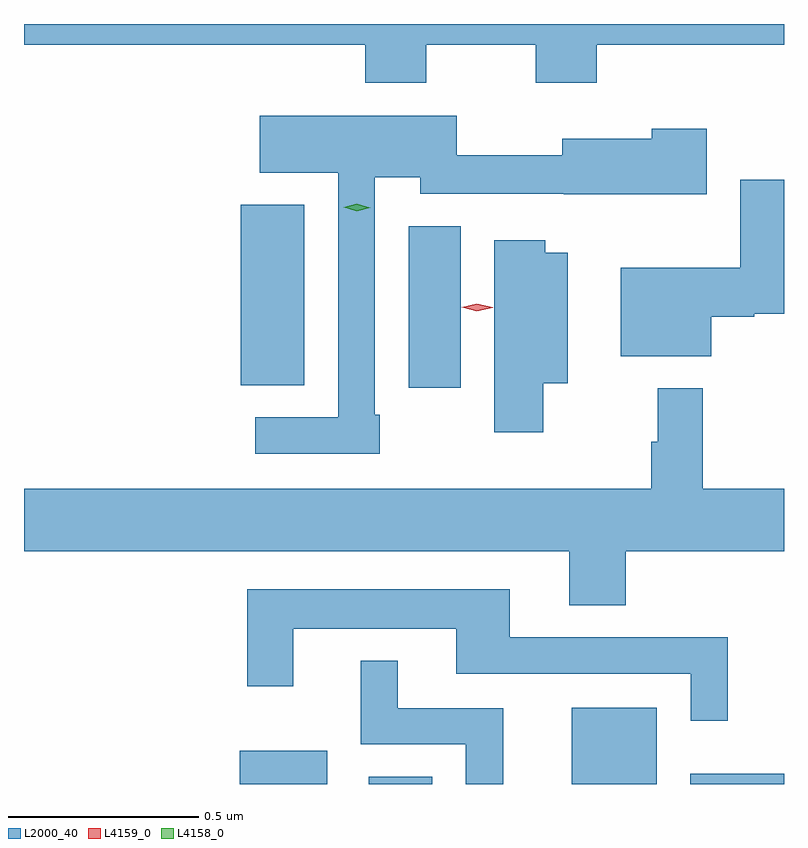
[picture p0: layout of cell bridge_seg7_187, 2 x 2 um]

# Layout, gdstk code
import gdstk
lib = gdstk.Library(unit=1e-6, precision=1e-09)
def R(c, l, rs):  # rectangles x0, y0, x1, y1
    for r in rs: c.add(gdstk.rectangle(r[:2], r[2:], *l))
def P(c, l, *ps):  # polygons
    for p in ps: c.add(gdstk.Polygon(p, *l))
L2000_40 = (2000, 40)
L4158_0 = (4158, 0)
L4159_0 = (4159, 0)

bridge_seg7_187 = lib.new_cell('bridge_seg7_187')
R(bridge_seg7_187, L2000_40, [(489.701,1022.647,489.931,1022.734), (490.04,1022.647,490.207,1022.666), (490.574,1022.647,490.798,1022.848), (490.886,1022.647,491.133,1022.674), (490.145,1023.69,490.282,1024.115), (489.704,1023.697,489.871,1024.171)])
P(bridge_seg7_187, L2000_40, [(490.191,1024.592),(490.48,1024.592),(490.48,1024.493),(490.64,1024.493),(490.64,1024.592),(491.133,1024.592),(491.133,1024.647),(489.133,1024.647),(489.133,1024.592),(490.031,1024.592),(490.031,1024.493),(490.191,1024.493)],
  [(490.069,1023.619),(490.056,1023.619),(490.056,1024.244),(490.176,1024.244),(490.176,1024.2),(490.554,1024.2),(490.554,1024.199),(490.93,1024.199),(490.93,1024.372),(490.785,1024.372),(490.785,1024.345),(490.55,1024.345),(490.55,1024.301),(490.272,1024.301),(490.272,1024.405),(489.753,1024.405),(489.753,1024.256),(489.96,1024.256),(489.96,1023.612),(489.741,1023.612),(489.741,1023.516),(490.069,1023.516)],
  [(490.942,1023.877),(491.055,1023.877),(491.055,1023.884),(491.133,1023.884),(491.133,1024.237),(491.018,1024.237),(491.018,1024.006),(490.703,1024.006),(490.703,1023.773),(490.942,1023.773)],
  [(490.5,1023.701),(490.564,1023.701),(490.564,1024.045),(490.505,1024.045),(490.505,1024.078),(490.37,1024.078),(490.37,1023.573),(490.5,1023.573)],
  [(489.133,1023.26),(490.568,1023.26),(490.568,1023.118),(490.716,1023.118),(490.716,1023.26),(491.133,1023.26),(491.133,1023.424),(490.919,1023.424),(490.919,1023.688),(490.801,1023.688),(490.801,1023.548),(490.783,1023.548),(490.783,1023.424),(489.133,1023.424)],
  [(490.985,1023.033),(490.411,1023.033),(490.411,1023.16),(489.72,1023.16),(489.72,1022.904),(489.841,1022.904),(489.841,1023.056),(490.271,1023.056),(490.271,1022.937),(490.887,1022.937),(490.887,1022.814),(490.985,1022.814)],
  [(490.394,1022.847),(490.117,1022.847),(490.117,1022.971),(490.019,1022.971),(490.019,1022.751),(490.296,1022.751),(490.296,1022.647),(490.394,1022.647)])
P(bridge_seg7_187, L4158_0, [(490.009,1024.154),(489.974,1024.165),(489.974,1024.165),(489.974,1024.165),(490.009,1024.174),(490.044,1024.164),(490.044,1024.164),(490.044,1024.163)])
P(bridge_seg7_187, L4159_0, [(490.325,1023.891),(490.285,1023.901),(490.285,1023.901),(490.285,1023.902),(490.325,1023.911),(490.366,1023.901),(490.366,1023.9),(490.366,1023.9)])

lib.write_gds('bridge_seg7_187.gds')
